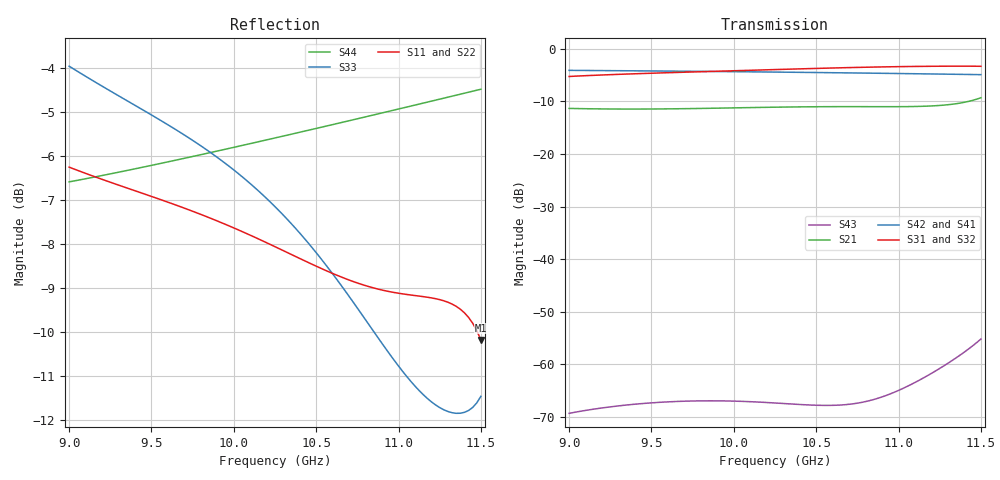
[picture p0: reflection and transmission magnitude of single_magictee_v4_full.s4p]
! Generated from PyAEDT SolutionData; AEDT ExportNetworkData workaround
# GHz S MA R 50
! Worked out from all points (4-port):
!   101 points, 9 GHz to 11.5 GHz, reference 50 ohm
!   strongest paths, dB at 9 GHz, 9.625 GHz, 10.25 GHz, 10.88 GHz, 11.5 GHz:
!     S31: -5.2, -4.5, -3.9, -3.4, -3.3
!     S32: -5.2, -4.5, -3.9, -3.5, -3.4
!     S42: -4.1, -4.2, -4.4, -4.6, -4.9
!     S41: -4.1, -4.2, -4.4, -4.7, -5.0
!     S21: -11.3, -11.4, -11.1, -11.0, -9.3
!     S43: -69.3, -67.1, -67.3, -66.4, -55.2
!   lowest |S11| = -10.2 dB at 11.5 GHz (marker M1), VSWR 1.90, Z = 33.3 + j20.7 ohm
!   |S11| at or under -10 dB: 11.47912 GHz to end of sweep
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9  0.487 23.5  0.2716 -46.2  0.5468 -5.5  0.6246 43.4
   0.2716 -46.2  0.4869 23.6  0.5465 -5.5  0.6248 -136.5
   0.5468 -5.5  0.5465 -5.5  0.6343 169.2  0.0003422 101.5
   0.6246 43.4  0.6248 -136.5  0.0003422 101.5  0.4685 -149.7
9.325  0.4629 -15.5  0.2679 -92.8  0.5745 -64.1  0.6196 6.8
       0.2679 -92.8  0.4631 -15.4  0.5742 -64.1  0.6198 -173.1
       0.5745 -64.1  0.5742 -64.1  0.5833 93.8  0.0004067 30.9
       0.6196 6.8  0.6198 -173.1  0.0004067 30.9  0.4816 176.2
9.7  0.4374 -58.7  0.2701 -144.8  0.6001 -129.4  0.6129 -34.2
     0.2701 -144.8  0.4379 -58.6  0.5995 -129.3  0.6131 145.9
     0.6001 -129.4  0.5995 -129.3  0.5296 10.6  0.0004461 -51.6
     0.6129 -34.2  0.6131 145.9  0.0004461 -51.6  0.4984 137.7
10.125  0.4055 -105.5  0.277 157.5  0.6276 158.7  0.6042 -79.3
        0.277 157.5  0.4063 -105.2  0.6267 158.8  0.6045 100.8
        0.6276 158.7  0.6267 158.8  0.462 -80.7  0.0004396 -149.3
        0.6042 -79.3  0.6045 100.8  0.0004396 -149.3  0.5192 94.9
10.6  0.3687 -153.5  0.2822 94.0  0.6581 78.8  0.5928 -128.5
      0.2822 94.0  0.3698 -153.1  0.6567 78.9  0.5936 51.6
      0.6581 78.8  0.6567 78.9  0.3683 176.0  0.0004074 84.4
      0.5928 -128.5  0.5936 51.6  0.0004074 84.4  0.5443 47.8
11.075  0.3484 162.2  0.2829 33.5  0.6802 -3.1  0.5796 -176.8
        0.2829 33.5  0.3497 163.0  0.6783 -2.9  0.5811 3.3
        0.6802 -3.1  0.6783 -2.9  0.2779 63.6  0.0006422 -60.7
        0.5796 -176.8  0.5811 3.3  0.0006422 -60.7  0.5714 1.3
11.5  0.3098 115.0  0.343 -16.2  0.6831 -84.7  0.5654 140.4
      0.343 -16.2  0.311 116.7  0.6796 -84.4  0.569 -39.4
      0.6831 -84.7  0.6796 -84.4  0.2673 -32.5  0.001739 -173.1
      0.5654 140.4  0.569 -39.4  0.001739 -173.1  0.5971 -40.1
